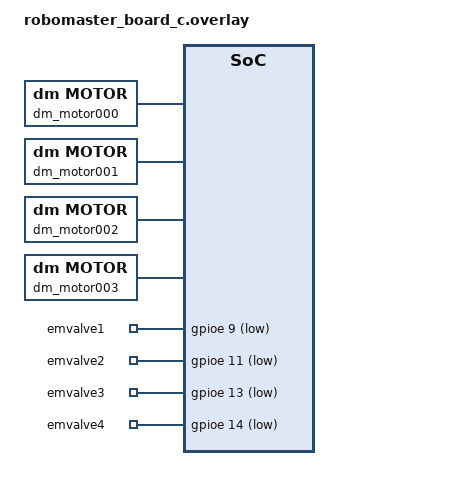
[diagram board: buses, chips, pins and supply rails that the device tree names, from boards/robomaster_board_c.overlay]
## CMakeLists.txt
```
cmake_minimum_required(VERSION 3.20.0)

find_package(Zephyr REQUIRED HINTS $ENV{ZEPHYR_BASE})
project(robocon_integrated)

target_sources(app PRIVATE src/main.c)
```

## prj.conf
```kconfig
# Robocon Integrated Demo Configuration

# 基础配置
CONFIG_MAIN_THREAD_PRIORITY=7
CONFIG_SYSTEM_WORKQUEUE_STACK_SIZE=4096

# 电机驱动支持
CONFIG_MOTOR=y
CONFIG_MOTOR_DJI=y
CONFIG_MOTOR_DM=y

# SBUS 支持
CONFIG_ARES=y
CONFIG_ARES_SBUS=y
CONFIG_SBUS_LOG_LEVEL=4
CONFIG_SBUS_INIT_PRIORITY=90

# CAN总线支持
CONFIG_CAN=y
CONFIG_CAN_INIT_PRIORITY=80

# PID控制器支持
CONFIG_PID=y

# GPIO 支持 (电磁阀)
CONFIG_GPIO=y

# 日志支持
CONFIG_LOG=y
CONFIG_UART_CONSOLE=y
```

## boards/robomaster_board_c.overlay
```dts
/ {
    /* ====================== PID 控制器 ====================== */
    pid {
        /* MIT 控制器 (用于 DM 电机) */
        mit: mit {
            #controller-cells = <0>;
            compatible = "pid,mit";
            k_p = "5";
            k_i = "0";
            k_d = "1";
            offset = "1.2";
        };

        /* DM MIT 控制器 */
        dm_mit: dm_mit {
            compatible = "pid,mit";
            k_p = "5";
            k_d = "1";
        };

        /* 角度 PID (用于 M2006 电机) */
        angle_pid_1: angle_pid_1 {
            #controller-cells = <0>;
            compatible = "pid,single";
            k_p = "0.5";
            k_i = "0";
            k_d = "10";
        };

        /* 速度 PID (用于 M2006 电机) */
        speed_pid_1: speed_pid_1 {
            #controller-cells = <0>;
            compatible = "pid,single";
            k_p = "0.3";
            k_i = "0";
            k_d = "0.02";
        };

        /* 吸取控制 PID */
        vo: vo {
            compatible = "pid,single";
            k_p = "0.0372";
            k_i = "0.002";
        };
    };

    /* ====================== DJI M2006 电机 ====================== */
    rm_motor {
        /* jiahzua 部分: 夹爪电机 */
        motor01: motor01 {
            compatible = "dji,motor";
            is_m2006;
            id = <6>;
            rx_id = <0x206>;
            tx_id = <0x1FF>;
            gear_ratio = "36.0";
            status = "okay";
            can_channel = <&can1>;
            controllers = <&angle_pid_1 &speed_pid_1>;
            capabilities = "angle", "speed";
        };

        motor02: motor02 {
            compatible = "dji,motor";
            is_m2006;
            id = <7>;
            rx_id = <0x207>;
            tx_id = <0x1FF>;
            gear_ratio = "36.0";
            status = "okay";
            can_channel = <&can1>;
            controllers = <&angle_pid_1 &speed_pid_1>;
            capabilities = "angle", "speed";
        };

        /* xipan 部分: 吸盘推杆电机 */
        motor_yq_o1: motor_yq_o1 {
            compatible = "dji,motor";
            is_m2006;
            id = <1>;
            rx_id = <0x201>;
            tx_id = <0x200>;
            gear_ratio = "36";
            status = "okay";
            can_channel = <&can2>;
            controllers = <&angle_pid_1 &speed_pid_1>;
            capabilities = "angle", "speed";
        };

        motor_yq_o2: motor_yq_o2 {
            compatible = "dji,motor";
            is_m2006;
            id = <2>;
            rx_id = <0x202>;
            tx_id = <0x200>;
            gear_ratio = "36";
            status = "okay";
            can_channel = <&can2>;
            controllers = <&angle_pid_1 &speed_pid_1>;
            capabilities = "angle", "speed";
        };

        motor_yq_o3: motor_yq_o3 {
            compatible = "dji,motor";
            is_m2006;
            id = <3>;
            rx_id = <0x203>;
            tx_id = <0x200>;
            gear_ratio = "36";
            status = "okay";
            can_channel = <&can2>;
            controllers = <&angle_pid_1 &speed_pid_1>;
            capabilities = "angle", "speed";
        };

        motor_yq_o4: motor_yq_o4 {
            compatible = "dji,motor";
            is_m2006;
            id = <5>;
            rx_id = <0x205>;
            tx_id = <0x1FF>;
            gear_ratio = "36";
            status = "okay";
            can_channel = <&can2>;
            controllers = <>;
            capabilities = "";
            inverse;
            follow = <&motor_yq_o3>;
        };
    };

    /* ====================== DM 达妙电机 ====================== */
    motor {
        /* jiahzua 部分: 夹爪 DM 电机 */
        dm_motor01: dm_motor01 {
            compatible = "dm,motor";
            id = <4>;
            rx_id = <0x00>;
            tx_id = <0x02>;
            v_max = "785";
            status = "okay";
            can_channel = <&can1>;
            controllers = <&dm_mit>;
            capabilities = "mit";
            t_max = "5";
            freq = <1000>;
        };

        /* xipan 部分: 吸盘 DM 电机 */
        dm_motor1: dm_motor1 {
            compatible = "dm,motor";
            id = <6>;
            rx_id = <0x00>;
            tx_id = <0x04>;
            v_max = "785";
            status = "okay";
            can_channel = <&can2>;
            controllers = <&dm_mit>;
            capabilities = "mit";
            t_max = "5";
            freq = <1000>;
        };
    };

    /* hhy 部分: 升降 DM 电机 */
    dm_motor000: dm_motor000 {
        compatible = "dm,motor";
        id = <1>;
        rx_id = <0x1A>;
        tx_id = <0x0A>;
        v_max = "785";
        status = "okay";
        can_channel = <&can2>;
        controllers = <&mit>;
        capabilities = "mit";
        t_max = "5";
        freq = <1000>;
    };

    dm_motor001: dm_motor001 {
        compatible = "dm,motor";
        id = <2>;
        rx_id = <0x1B>;
        tx_id = <0x0B>;
        v_max = "785";
        status = "okay";
        can_channel = <&can1>;
        controllers = <&mit>;
        capabilities = "mit";
        t_max = "5";
        freq = <1000>;
    };

    dm_motor002: dm_motor002 {
        compatible = "dm,motor";
        id = <3>;
        rx_id = <0x1C>;
        tx_id = <0x0C>;
        v_max = "785";
        status = "okay";
        can_channel = <&can2>;
        controllers = <&mit>;
        capabilities = "mit";
        t_max = "5";
        freq = <1000>;
    };

    dm_motor003: dm_motor003 {
        compatible = "dm,motor";
        id = <4>;
        rx_id = <0x1D>;
        tx_id = <0x0D>;
        v_max = "785";
        status = "okay";
        can_channel = <&can1>;
        controllers = <&mit>;
        capabilities = "mit";
        t_max = "5";
        freq = <1000>;
    };

    /* ====================== 电磁阀 (xipan 部分) ====================== */
    emvalve {
        compatible = "gpio-keys";

        emvalve1: emvalve1 {
            gpios = <&gpioe 9 GPIO_ACTIVE_LOW>;
            label = "emvalve1";
        };

        emvalve2: emvalve2 {
            gpios = <&gpioe 11 GPIO_ACTIVE_LOW>;
            label = "emvalve2";
        };

        emvalve3: emvalve3 {
            gpios = <&gpioe 13 GPIO_ACTIVE_LOW>;
            label = "emvalve3";
        };

        emvalve4: emvalve4 {
            gpios = <&gpioe 14 GPIO_ACTIVE_LOW>;
            label = "emvalve4";
        };
    };

    /* ====================== SBUS 遥控器 ====================== */
    sbus0: sbus0 {
        compatible = "ares,sbus";
        status = "okay";
    };
};
```

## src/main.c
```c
#include <zephyr/kernel.h>
#include <zephyr/device.h>
#include <zephyr/drivers/can.h>
#include <zephyr/drivers/motor.h>
#include <zephyr/logging/log.h>
#include <zephyr/drivers/uart.h>
#include <zephyr/drivers/sbus.h>
#include <zephyr/drivers/gpio.h>
#include <zephyr/devicetree.h>
#include <zephyr/sys/time_units.h>
#include <math.h>
#include <stdint.h>
#include <string.h>
#include <sys/_intsup.h>

LOG_MODULE_REGISTER(robocon_integrated, LOG_LEVEL_INF);

/* ====================== SBUS 设备 ====================== */
#define SBUS_NODE DT_NODELABEL(sbus0)
const struct device *sbus = DEVICE_DT_GET(SBUS_NODE);

/* ====================== jiazhua 部分: 夹爪电机 ====================== */
#define MOTOR1_NODE DT_NODELABEL(motor01)
#define MOTOR2_NODE DT_NODELABEL(motor02)
#define DM_MOTOR_NODE DT_NODELABEL(dm_motor01)

static const struct device *motor01 = DEVICE_DT_GET(MOTOR1_NODE);
static const struct device *motor02 = DEVICE_DT_GET(MOTOR2_NODE);
static const struct device *dm_motor01 = DEVICE_DT_GET(DM_MOTOR_NODE);

#define TIMEOUT 100

static uint32_t last_move_time = 0;
static bool start_move = false;
static float dji_last = 0.0f;
static float dm_last = 0.0f;

/* ====================== hhy 部分: 升降电机 ====================== */
#define PI 3.1415926f
#define deg2high(deg)  ((deg) * PI * 45.0f / 360.0f)
#define high2deg(high) ((high) * 360.0f / (PI * 45.0f))

static float action[4] = {50.0f, 50.0f, 50.0f, 50.0f};
static int rank[4] = {1, 1, -1, -1};

const struct device *dmmotor[4] = {
    DEVICE_DT_GET(DT_NODELABEL(dm_motor000)),
    DEVICE_DT_GET(DT_NODELABEL(dm_motor001)),
    DEVICE_DT_GET(DT_NODELABEL(dm_motor002)),
    DEVICE_DT_GET(DT_NODELABEL(dm_motor003))
};

/* ====================== xipan 部分: 吸盘电机和电磁阀 ====================== */
#define M2006_NODE_0 DT_NODELABEL(motor_yq_o1)
#define M2006_NODE_1 DT_NODELABEL(motor_yq_o2)
#define M2006_NODE_2 DT_NODELABEL(motor_yq_o3)
#define M2006_NODE_3 DT_NODELABEL(motor_yq_o4)
#define DM_NODE_XIPAN DT_NODELABEL(dm_motor1)

static const struct device *m2006_motor_0 = DEVICE_DT_GET(M2006_NODE_0);
static const struct device *m2006_motor_1 = DEVICE_DT_GET(M2006_NODE_1);
static const struct device *m2006_motor_2 = DEVICE_DT_GET(M2006_NODE_2);
static const struct device *m2006_motor_3 = DEVICE_DT_GET(M2006_NODE_3);
static const struct device *dm_motor_xipan = DEVICE_DT_GET(DM_NODE_XIPAN);

#define EMValve1 DT_NODELABEL(emvalve1)
#define EMValve2 DT_NODELABEL(emvalve2)
#define EMValve3 DT_NODELABEL(emvalve3)
#define EMValve4 DT_NODELABEL(emvalve4)

const struct gpio_dt_spec emvalve1 = GPIO_DT_SPEC_GET(EMValve1, gpios);
const struct gpio_dt_spec emvalve2 = GPIO_DT_SPEC_GET(EMValve2, gpios);
const struct gpio_dt_spec emvalve3 = GPIO_DT_SPEC_GET(EMValve3, gpios);
const struct gpio_dt_spec emvalve4 = GPIO_DT_SPEC_GET(EMValve4, gpios);

/* ====================== 通用函数 ====================== */
static float deadband(float v)
{
    if (v > -0.05f && v < 0.05f)
        return 0.0f;
    return v;
}

/* ====================== jiazhua 模块: 夹爪控制 ====================== */
static void jiazhua_init(void)
{
    motor_control(motor01, SET_ZERO);
    motor_control(motor02, SET_ZERO);
    motor_control(dm_motor01, SET_ZERO);
    k_msleep(500);
    motor_control(dm_motor01, ENABLE_MOTOR);
    motor_set_mode(dm_motor01, MIT);
    LOG_INF("jiazhua: motors initialized");
}

static void jiazhua_control_m2006(float ch_dji)
{
    if (ch_dji != dji_last) {
        if (ch_dji > 0.0f) {
            motor_set_angle(motor01, 70.0f);
            motor_set_angle(motor02, 70.0f);
        } else if (ch_dji < 0.0f) {
            motor_set_angle(motor01, -60.0f);
            motor_set_angle(motor02, -60.0f);
        }
        start_move = true;
        last_move_time = k_uptime_get();
        dji_last = ch_dji;
    }
}

/* 超时检测与强制停止 */
static void jiazhua_check_timeout(void)
{
    if (start_move && (k_uptime_get() - last_move_time > TIMEOUT)) {
        motor_set_angle(motor01, 0.0f);
        motor_set_angle(motor02, 0.0f);
        start_move = false;
        motor_set_torque(motor01, 0.0f);
        motor_set_torque(motor02, 0.0f);
        LOG_INF("Motors stopped due to timeout");
    }
}

/* 根据角度反馈切换到力矩模式 */
static void jiazhua_check_angle_and_torque(float ch_dji)
{
    float angle_feedback = motor_get(motor01, ML_ANGLE);
    if (fabs(angle_feedback) < 70.0f && fabs(angle_feedback) > 60.0f) {
        motor_set_mode(motor01, ML_TORQUE);
        motor_set_mode(motor02, ML_TORQUE);
        if (ch_dji > 0.0f) {
            motor_set_torque(motor01, 0.5f);
            motor_set_torque(motor02, 0.5f);
        }
        LOG_INF("Angle feedback: %.2f, applying torque", angle_feedback);
    }
}

/* 达妙 DM 电机控制 */
static void jiazhua_control_dm(float ch_dm)
{
    if (ch_dm != dm_last) {
        if (ch_dm > 0.0f) {
            motor_set_mit(dm_motor01, 2.0f, -90.0f, -0.325f);
        } else if (ch_dm < 0.0f) {
            motor_set_mit(dm_motor01, 0.0f, 0.0f, 0.0f);
        } else {
            motor_set_mit(dm_motor01, 2.0f, -90.0f, -0.4f);
        }
        LOG_INF("DM Motor MIT set to: %s", ch_dm > 0.0f ? "Forward" : "Reverse");
        dm_last = ch_dm;
    }
}

/* ====================== hhy 模块: 升降控制 ====================== */
static void hhy_lifthigh(int id, float high)
{
    if (high > 400.0f) {
        high = 400.0f;
    } else if (high < 0.0f) {
        high = 0.0f;
    }

    if (!device_is_ready(dmmotor[id])) {
        LOG_ERR("hhy: motor %d not ready!", id);
        return;
    }

    float target_deg = -1.0f * rank[id] * high2deg(high);
    motor_set_mit(dmmotor[id], 20.0f, target_deg, 1.0f);
}

static void hhy_action_update(float sbus_percent)
{
    if (sbus_percent > 0.0f) {
        LOG_INF("hhy: SBUS11 Up: %f", sbus_percent);
        for (int i = 0; i < 4; i++) {
            action[i] += 1.0f;
            if (action[i] > 400.0f) action[i] = 400.0f;
            hhy_lifthigh(i, action[i]);
        }
    } else if (sbus_percent < 0.0f) {
        LOG_INF("hhy: SBUS11 Down: %f", sbus_percent);
        for (int i = 0; i < 4; i++) {
            action[i] -= 1.0f;
            if (action[i] < 0.0f) action[i] = 0.0f;
            hhy_lifthigh(i, action[i]);
        }
    }
}

static void hhy_init(void)
{
    for (int i = 0; i < 4; i++) {
        if (!device_is_ready(dmmotor[i])) {
            LOG_ERR("hhy: motor%d NOT READY!", i);
            continue;
        }
        LOG_INF("hhy: motor%d ready", i);
        motor_control(dmmotor[i], ENABLE_MOTOR);
        k_msleep(10);
        motor_set_mode(dmmotor[i], MIT);
        k_msleep(10);
        LOG_INF("hhy: motor%d enabled + MIT mode", i);
    }
}

/* ====================== xipan 模块: 吸盘控制 ====================== */
static void xipan_big_center_push(float sbus)
{
    if (sbus > 0.1f) {
        motor_set_angle(m2006_motor_2, -500.0f);
        gpio_pin_set_dt(&emvalve2, true);
        LOG_INF("xipan: big center push1");
    } else if (sbus < -0.1f) {
        motor_set_angle(m2006_motor_2, 0.0f);
        gpio_pin_set_dt(&emvalve2, false);
        LOG_INF("xipan: big center push2");
    }
}

static void xipan_left_push(float sbus)
{
    LOG_INF("xipan_left_push: sbus=%.3f", sbus);
    if (sbus < -0.1f) {
        motor_set_angle(m2006_motor_1, 0.0f);
        LOG_INF("xipan: left push - angle 0");
    } else if (sbus < 0.1f && sbus > -0.1f) {
        motor_set_angle(m2006_motor_1, 100.0f);
        gpio_pin_set_dt(&emvalve3, true);
        LOG_INF("xipan: left push - angle 100, valve ON");
    } else if (sbus > 0.1f) {
        motor_set_angle(m2006_motor_1, 360.0f);
        gpio_pin_set_dt(&emvalve3, false);
        LOG_INF("xipan: left push - angle 360, valve OFF");
    }
}

static void xipan_right_push(float sbus)
{
    LOG_INF("xipan_right_push: sbus=%.3f", sbus);
    if (sbus < -0.1f) {
        motor_set_angle(m2006_motor_0, 0.0f);
        LOG_INF("xipan: right push - angle 0");
    } else if (sbus < 0.1f && sbus > -0.1f) {
        motor_set_angle(m2006_motor_0, -100.0f);
        gpio_pin_set_dt(&emvalve4, true);
        LOG_INF("xipan: right push - angle -100, valve ON");
    } else if (sbus > 0.1f) {
        motor_set_angle(m2006_motor_0, -360.0f);
        gpio_pin_set_dt(&emvalve4, false);
        LOG_INF("xipan: right push - angle -360, valve OFF");
    }
}

static void xipan_center_xiqi(float sbus)
{
    if (sbus > 0.1f) {
        gpio_pin_set_dt(&emvalve1, true);
        LOG_INF("xipan: center xiqi1");
    } else {
        gpio_pin_set_dt(&emvalve1, false);
        LOG_INF("xipan: center xiqi2");
    }
}

static void xipan_init(void)
{
    motor_control(m2006_motor_0, ENABLE_MOTOR);
    motor_control(m2006_motor_1, ENABLE_MOTOR);
    motor_control(m2006_motor_2, ENABLE_MOTOR);
    motor_control(m2006_motor_3, ENABLE_MOTOR);
    motor_control(dm_motor_xipan, ENABLE_MOTOR);

    gpio_pin_configure_dt(&emvalve1, GPIO_OUTPUT_INACTIVE);
    gpio_pin_configure_dt(&emvalve2, GPIO_OUTPUT_INACTIVE);
    gpio_pin_configure_dt(&emvalve3, GPIO_OUTPUT_INACTIVE);
    gpio_pin_configure_dt(&emvalve4, GPIO_OUTPUT_INACTIVE);

    if (!device_is_ready(dm_motor_xipan)) {
        LOG_ERR("xipan: DM motor device NOT ready!");
    } else {
        LOG_INF("xipan: DM motor device is ready");
    }

    k_msleep(300);
    motor_set_mode(dm_motor_xipan, MIT);
    motor_control(dm_motor_xipan, ENABLE_MOTOR);
    k_msleep(100);
    motor_set_mit(dm_motor_xipan, 2, 180, 0.0f);
    LOG_INF("xipan: initialized, DM motor set to 180 deg");
}

/* ====================== 主函数 ====================== */
int main(void)
{
    k_msleep(500);
    LOG_INF("=== Robocon Integrated Demo Start ===");

    /* 初始化各模块 */
    jiazhua_init();
    hhy_init();
    xipan_init();

    LOG_INF("All modules initialized");

    /* SBUS 通道历史值 */
    static float last_ch9 = 0, last_ch8 = 0;
    static float last_ch4 = 0, last_ch7 = 0, last_ch11 = 0;

    while (1) {
        /* 读取 SBUS 通道值 */
        float ch9 = deadband(sbus_get_percent(sbus, 9));   /* jiazhua DM */
        float ch8 = deadband(sbus_get_percent(sbus, 8));   /* jiazhua M2006 */
        float ch5 = deadband(sbus_get_percent(sbus, 5));   /* xipan center push */
        float ch4 = deadband(sbus_get_percent(sbus, 4));   /* xipan 左推 */
        float ch7 = deadband(sbus_get_percent(sbus, 7));   /* xipan 右推 */
        float ch11 = deadband(sbus_get_percent(sbus, 11)); /* hhy 升降 */

        /* jiazhua 模块处理 */
        if (ch9 != last_ch9) {
            jiazhua_control_dm(ch9);
            last_ch9 = ch9;
        }
        if (ch8 != last_ch8) {
            jiazhua_control_m2006(ch8);
            last_ch8 = ch8;
        }
        jiazhua_check_timeout();

        k_msleep(200);

        jiazhua_check_angle_and_torque(ch8);

        /* hhy 模块处理 */
        if (ch11 != last_ch11) {
            hhy_action_update(ch11);
            last_ch11 = ch11;
        }

        /* xipan 模块处理 */
        if (ch4 != last_ch4) {
            xipan_left_push(ch4);
            last_ch4 = ch4;
        }
        if (ch7 != last_ch7) {
            xipan_right_push(ch7);
            last_ch7 = ch7;
        }

        /* 大中心推 + 中吸 */
        xipan_big_center_push(ch5);
        xipan_center_xiqi(ch8);

        k_msleep(500);
    }
```
